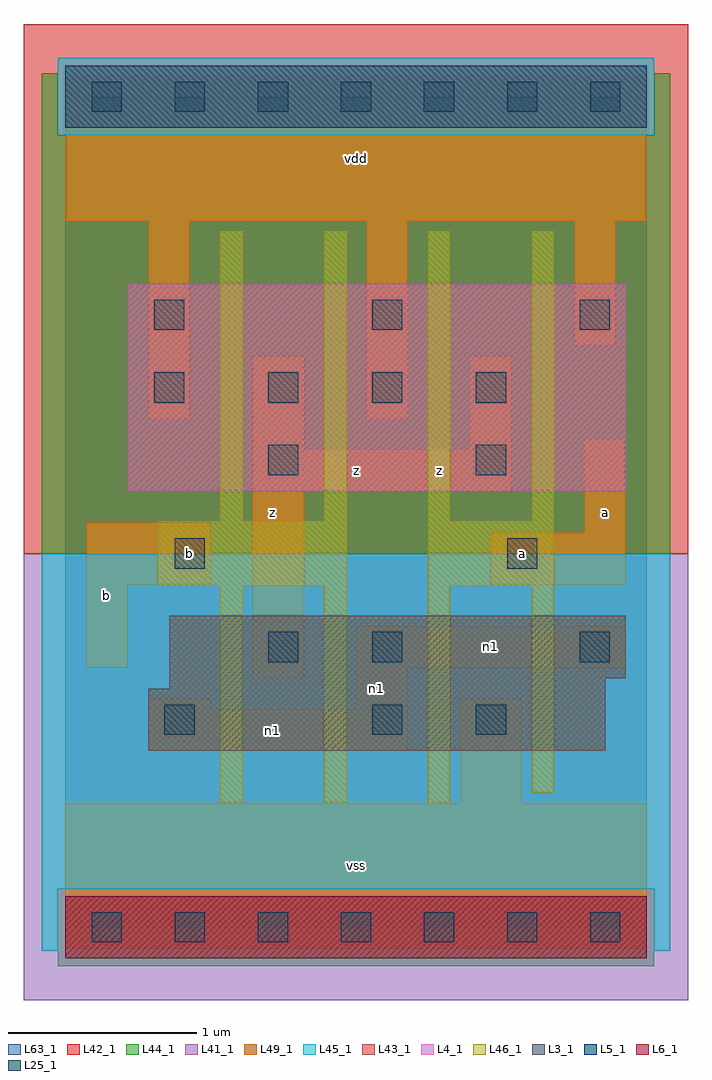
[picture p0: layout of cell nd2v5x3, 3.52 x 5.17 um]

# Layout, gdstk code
import gdstk
lib = gdstk.Library(unit=1e-6, precision=1e-09)
def R(c, l, rs):  # rectangles x0, y0, x1, y1
    for r in rs: c.add(gdstk.rectangle(r[:2], r[2:], *l))
def A(c, l, x, y, w, h, nx, ny, dx, dy):  # array of equal rectangles
    R(c, l, [(x+i*dx, y+j*dy, x+i*dx+w, y+j*dy+h) for i in range(nx) for j in range(ny)])
L3_1 = (3, 1)
L4_1 = (4, 1)
L5_1 = (5, 1)
L6_1 = (6, 1)
L25_1 = (25, 1)
L41_1 = (41, 1)
L42_1 = (42, 1)
L43_1 = (43, 1)
L44_1 = (44, 1)
L45_1 = (45, 1)
L46_1 = (46, 1)
L49_1 = (49, 1)
L63_1 = (63, 1)

nd2v5x3 = lib.new_cell('nd2v5x3')
R(nd2v5x3, L3_1, [(0.44,0.935,2.86,1.265), (0.55,1.265,2.86,1.32), (0.55,1.32,2.97,1.65)])
R(nd2v5x3, L4_1, [(0.33,2.31,2.97,3.41)])
R(nd2v5x3, L5_1, [(0,4.235,3.08,4.565)])
R(nd2v5x3, L6_1, [(0,-0.165,3.08,0.165)])
A(nd2v5x3, L25_1, 0.14, -0.08, 0.16, 0.16, 7, 2, 0.44, 4.4)
A(nd2v5x3, L25_1, 1.075, 2.78, 0.16, 0.16, 3, 1, 0.55, 0)
R(nd2v5x3, L25_1, [(0.525,1.02,0.685,1.18), (1.625,1.02,1.785,1.18), (2.175,1.02,2.335,1.18), (1.075,1.405,1.235,1.565), (1.625,1.405,1.785,1.565), (2.725,1.405,2.885,1.565), (0.58,1.9,0.74,2.06), (2.34,1.9,2.5,2.06), (1.075,2.395,1.235,2.555), (2.175,2.395,2.335,2.555), (0.47,2.78,0.63,2.94), (0.47,3.165,0.63,3.325), (1.625,3.165,1.785,3.325), (2.725,3.165,2.885,3.325)])
R(nd2v5x3, L41_1, [(-0.22,-0.385,3.3,1.98)])
R(nd2v5x3, L42_1, [(-0.22,1.98,3.3,4.785)])
R(nd2v5x3, L43_1, [(0,-0.165,3.08,0.165), (0.44,0.935,2.86,1.265), (0.55,1.265,2.86,1.32), (0.55,1.32,2.97,1.65), (0.33,2.31,2.97,3.41), (0,4.235,3.08,4.565)])
R(nd2v5x3, L44_1, [(-0.04,-0.205,3.12,0.205), (-0.125,1.98,3.205,4.195), (-0.125,4.195,-0.04,4.525), (3.12,4.195,3.205,4.525)])
R(nd2v5x3, L45_1, [(-0.125,-0.125,-0.04,0.205), (3.12,-0.125,3.205,0.205), (-0.125,0.205,3.205,1.98), (-0.04,4.195,3.12,4.605)])
A(nd2v5x3, L46_1, 0.82, 0.655, 0.12, 1.155, 3, 1, 0.55, 0)
A(nd2v5x3, L46_1, 0.82, 2.15, 0.12, 1.54, 4, 1, 0.55, 0)
R(nd2v5x3, L46_1, [(2.47,0.71,2.59,1.81), (0.49,1.81,1.49,2.15), (1.92,1.81,2.59,2.15)])
R(nd2v5x3, L49_1, [(0,-0.11,3.08,0.66), (2.09,0.66,2.42,1.21), (0.44,0.935,1.815,1.155), (0.44,1.155,0.77,1.21), (1.54,1.155,1.815,1.375), (0.99,1.32,1.265,2.31), (0.11,1.375,0.33,1.815), (1.54,1.375,2.97,1.595), (0.11,1.815,0.77,2.145), (2.255,1.815,2.97,2.09), (2.75,2.09,2.97,2.585), (0.99,2.31,2.365,2.53), (0.99,2.53,1.265,3.025), (2.145,2.53,2.365,3.025), (0.44,2.695,0.66,3.74), (1.595,2.695,1.815,3.74), (2.695,3.08,2.915,3.74), (0,3.74,3.08,4.51)])
R(nd2v5x3, L63_1, [(0,0,3.08,4.4)])
nd2v5x3.add(gdstk.Label('b', (0.22,1.76), layer=49, texttype=1))
nd2v5x3.add(gdstk.Label('b', (0.66,1.98), layer=49, texttype=1))
nd2v5x3.add(gdstk.Label('z', (1.1,2.2), layer=49, texttype=1))
nd2v5x3.add(gdstk.Label('vss', (1.54,0.33), layer=49, texttype=1))
nd2v5x3.add(gdstk.Label('n1', (1.65,1.265), layer=49, texttype=1))
nd2v5x3.add(gdstk.Label('n1', (1.1,1.045), layer=49, texttype=1))
nd2v5x3.add(gdstk.Label('z', (1.98,2.42), layer=49, texttype=1))
nd2v5x3.add(gdstk.Label('z', (1.54,2.42), layer=49, texttype=1))
nd2v5x3.add(gdstk.Label('vdd', (1.54,4.07), layer=49, texttype=1))
nd2v5x3.add(gdstk.Label('a', (2.42,1.98), layer=49, texttype=1))
nd2v5x3.add(gdstk.Label('n1', (2.255,1.485), layer=49, texttype=1))
nd2v5x3.add(gdstk.Label('a', (2.86,2.2), layer=49, texttype=1))

lib.write_gds('nd2v5x3.gds')
